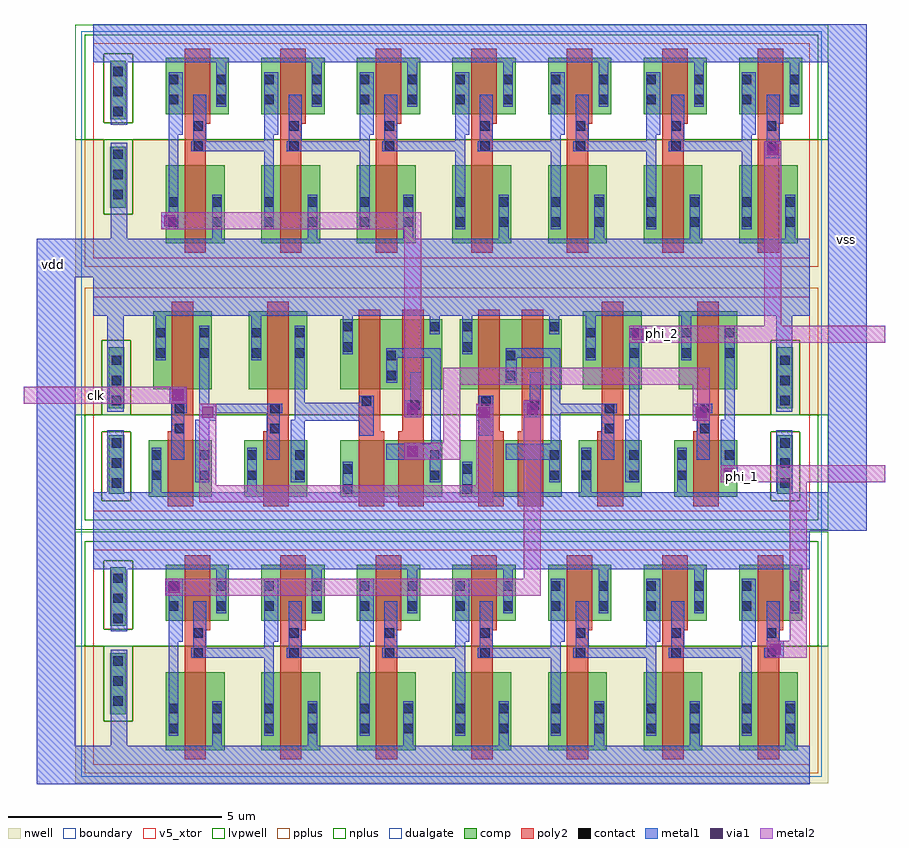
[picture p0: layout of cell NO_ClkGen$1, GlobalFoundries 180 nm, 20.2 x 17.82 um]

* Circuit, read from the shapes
.subckt NO_ClkGen$1 clk phi_1 phi_2 vdd vss
XM1 gf180mcu_fd_sc_mcu9t5v0__nand2_1$3_2/A2 clk vss vss nfet_05v0 w=1.32u l=0.6u
XM2 vss gf180mcu_fd_sc_mcu9t5v0__inv_1$5_8/I gf180mcu_fd_sc_mcu9t5v0__nand2_1$3_2/A1 vss nfet_05v0 w=1.32u l=0.6u
XM3 vss gf180mcu_fd_sc_mcu9t5v0__inv_1$5_16/I gf180mcu_fd_sc_mcu9t5v0__nand2_1$3_1/A1 vss nfet_05v0 w=1.32u l=0.6u
XM4 gf180mcu_fd_sc_mcu9t5v0__nand2_1$3_1/A2 gf180mcu_fd_sc_mcu9t5v0__nand2_1$3_2/A2 vss vss nfet_05v0 w=1.32u l=0.6u
XM5 vss gf180mcu_fd_sc_mcu9t5v0__inv_1$5_9/I gf180mcu_fd_sc_mcu9t5v0__inv_1$5_8/I vss nfet_05v0 w=1.32u l=0.6u
XM6 vss gf180mcu_fd_sc_mcu9t5v0__inv_1$5_17/I gf180mcu_fd_sc_mcu9t5v0__inv_1$5_16/I vss nfet_05v0 w=1.32u l=0.6u
XM7 n1 gf180mcu_fd_sc_mcu9t5v0__nand2_1$3_1/A2 vss vss nfet_05v0 w=1.32u l=0.6u
XM8 vss gf180mcu_fd_sc_mcu9t5v0__inv_1$5_7/I gf180mcu_fd_sc_mcu9t5v0__inv_1$5_9/I vss nfet_05v0 w=1.32u l=0.6u
XM9 vss gf180mcu_fd_sc_mcu9t5v0__inv_1$5_15/I gf180mcu_fd_sc_mcu9t5v0__inv_1$5_17/I vss nfet_05v0 w=1.32u l=0.6u
XM10 gf180mcu_fd_sc_mcu9t5v0__inv_1$5_10/I gf180mcu_fd_sc_mcu9t5v0__nand2_1$3_1/A1 n1 vss nfet_05v0 w=1.32u l=0.6u
XM11 vss gf180mcu_fd_sc_mcu9t5v0__inv_1$5_6/I gf180mcu_fd_sc_mcu9t5v0__inv_1$5_7/I vss nfet_05v0 w=1.32u l=0.6u
XM12 vss gf180mcu_fd_sc_mcu9t5v0__inv_1$5_14/I gf180mcu_fd_sc_mcu9t5v0__inv_1$5_15/I vss nfet_05v0 w=1.32u l=0.6u
XM13 n2 gf180mcu_fd_sc_mcu9t5v0__nand2_1$3_2/A2 vss vss nfet_05v0 w=1.32u l=0.6u
XM14 gf180mcu_fd_sc_mcu9t5v0__inv_1$5_18/I gf180mcu_fd_sc_mcu9t5v0__nand2_1$3_2/A1 n2 vss nfet_05v0 w=1.32u l=0.6u
XM15 vss gf180mcu_fd_sc_mcu9t5v0__inv_1$5_12/I gf180mcu_fd_sc_mcu9t5v0__inv_1$5_6/I vss nfet_05v0 w=1.32u l=0.6u
XM16 vss gf180mcu_fd_sc_mcu9t5v0__inv_1$5_20/I gf180mcu_fd_sc_mcu9t5v0__inv_1$5_14/I vss nfet_05v0 w=1.32u l=0.6u
XM17 phi_2 gf180mcu_fd_sc_mcu9t5v0__inv_1$5_18/I vss vss nfet_05v0 w=1.32u l=0.6u
XM18 vss gf180mcu_fd_sc_mcu9t5v0__inv_1$5_13/I gf180mcu_fd_sc_mcu9t5v0__inv_1$5_12/I vss nfet_05v0 w=1.32u l=0.6u
XM19 vss gf180mcu_fd_sc_mcu9t5v0__inv_1$5_21/I gf180mcu_fd_sc_mcu9t5v0__inv_1$5_20/I vss nfet_05v0 w=1.32u l=0.6u
XM20 phi_1 gf180mcu_fd_sc_mcu9t5v0__inv_1$5_10/I vss vss nfet_05v0 w=1.32u l=0.6u
XM21 vss phi_1 gf180mcu_fd_sc_mcu9t5v0__inv_1$5_13/I vss nfet_05v0 w=1.32u l=0.6u
XM22 vss phi_2 gf180mcu_fd_sc_mcu9t5v0__inv_1$5_21/I vss nfet_05v0 w=1.32u l=0.6u
XM23 gf180mcu_fd_sc_mcu9t5v0__nand2_1$3_2/A2 clk vdd vdd pfet_05v0 w=1.83u l=0.5u
XM24 vdd gf180mcu_fd_sc_mcu9t5v0__inv_1$5_8/I gf180mcu_fd_sc_mcu9t5v0__nand2_1$3_2/A1 vdd pfet_05v0 w=1.83u l=0.5u
XM25 vdd gf180mcu_fd_sc_mcu9t5v0__inv_1$5_16/I gf180mcu_fd_sc_mcu9t5v0__nand2_1$3_1/A1 vdd pfet_05v0 w=1.83u l=0.5u
XM26 gf180mcu_fd_sc_mcu9t5v0__nand2_1$3_1/A2 gf180mcu_fd_sc_mcu9t5v0__nand2_1$3_2/A2 vdd vdd pfet_05v0 w=1.83u l=0.5u
XM27 vdd gf180mcu_fd_sc_mcu9t5v0__inv_1$5_9/I gf180mcu_fd_sc_mcu9t5v0__inv_1$5_8/I vdd pfet_05v0 w=1.83u l=0.5u
XM28 vdd gf180mcu_fd_sc_mcu9t5v0__inv_1$5_17/I gf180mcu_fd_sc_mcu9t5v0__inv_1$5_16/I vdd pfet_05v0 w=1.83u l=0.5u
XM29 gf180mcu_fd_sc_mcu9t5v0__inv_1$5_10/I gf180mcu_fd_sc_mcu9t5v0__nand2_1$3_1/A2 vdd vdd pfet_05v0 w=1.645u l=0.5u
XM30 vdd gf180mcu_fd_sc_mcu9t5v0__inv_1$5_7/I gf180mcu_fd_sc_mcu9t5v0__inv_1$5_9/I vdd pfet_05v0 w=1.83u l=0.5u
XM31 vdd gf180mcu_fd_sc_mcu9t5v0__inv_1$5_15/I gf180mcu_fd_sc_mcu9t5v0__inv_1$5_17/I vdd pfet_05v0 w=1.83u l=0.5u
XM32 vdd gf180mcu_fd_sc_mcu9t5v0__nand2_1$3_1/A1 gf180mcu_fd_sc_mcu9t5v0__inv_1$5_10/I vdd pfet_05v0 w=1.645u l=0.5u
XM33 vdd gf180mcu_fd_sc_mcu9t5v0__inv_1$5_6/I gf180mcu_fd_sc_mcu9t5v0__inv_1$5_7/I vdd pfet_05v0 w=1.83u l=0.5u
XM34 vdd gf180mcu_fd_sc_mcu9t5v0__inv_1$5_14/I gf180mcu_fd_sc_mcu9t5v0__inv_1$5_15/I vdd pfet_05v0 w=1.83u l=0.5u
XM35 gf180mcu_fd_sc_mcu9t5v0__inv_1$5_18/I gf180mcu_fd_sc_mcu9t5v0__nand2_1$3_2/A2 vdd vdd pfet_05v0 w=1.645u l=0.5u
XM36 vdd gf180mcu_fd_sc_mcu9t5v0__nand2_1$3_2/A1 gf180mcu_fd_sc_mcu9t5v0__inv_1$5_18/I vdd pfet_05v0 w=1.645u l=0.5u
XM37 vdd gf180mcu_fd_sc_mcu9t5v0__inv_1$5_12/I gf180mcu_fd_sc_mcu9t5v0__inv_1$5_6/I vdd pfet_05v0 w=1.83u l=0.5u
XM38 vdd gf180mcu_fd_sc_mcu9t5v0__inv_1$5_20/I gf180mcu_fd_sc_mcu9t5v0__inv_1$5_14/I vdd pfet_05v0 w=1.83u l=0.5u
XM39 phi_2 gf180mcu_fd_sc_mcu9t5v0__inv_1$5_18/I vdd vdd pfet_05v0 w=1.83u l=0.5u
XM40 vdd gf180mcu_fd_sc_mcu9t5v0__inv_1$5_13/I gf180mcu_fd_sc_mcu9t5v0__inv_1$5_12/I vdd pfet_05v0 w=1.83u l=0.5u
XM41 vdd gf180mcu_fd_sc_mcu9t5v0__inv_1$5_21/I gf180mcu_fd_sc_mcu9t5v0__inv_1$5_20/I vdd pfet_05v0 w=1.83u l=0.5u
XM42 phi_1 gf180mcu_fd_sc_mcu9t5v0__inv_1$5_10/I vdd vdd pfet_05v0 w=1.83u l=0.5u
XM43 vdd phi_1 gf180mcu_fd_sc_mcu9t5v0__inv_1$5_13/I vdd pfet_05v0 w=1.83u l=0.5u
XM44 vdd phi_2 gf180mcu_fd_sc_mcu9t5v0__inv_1$5_21/I vdd pfet_05v0 w=1.83u l=0.5u
.ends

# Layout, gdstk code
from math import pi, radians
import gdstk
lib = gdstk.Library(unit=1e-6, precision=5e-09)
def R(c, l, rs):  # rectangles x0, y0, x1, y1
    for r in rs: c.add(gdstk.rectangle(r[:2], r[2:], *l))
def A(c, l, x, y, w, h, nx, ny, dx, dy):  # array of equal rectangles
    R(c, l, [(x+i*dx, y+j*dy, x+i*dx+w, y+j*dy+h) for i in range(nx) for j in range(ny)])
def P(c, l, *ps):  # polygons
    for p in ps: c.add(gdstk.Polygon(p, *l))
boundary = (0, 0)
nwell = (21, 0)
comp = (22, 0)
poly2 = (30, 0)
pplus = (31, 0)
nplus = (32, 0)
contact = (33, 0)
metal1 = (34, 0)
via1 = (35, 0)
metal2 = (36, 0)
dualgate = (55, 0)
v5_xtor = (112, 1)
lvpwell = (204, 0)

gf180mcu_fd_sc_mcu9t5v0_ = lib.new_cell('gf180mcu_fd_sc_mcu9t5v0__inv_1$5')
R(gf180mcu_fd_sc_mcu9t5v0_, boundary, [(0,0,2.24,5.04)])
R(gf180mcu_fd_sc_mcu9t5v0_, nwell, [(-0.43,2.265,2.67,5.47)])
R(gf180mcu_fd_sc_mcu9t5v0_, comp, [(0.18,0.345,1.66,1.665), (0.28,2.865,1.66,4.695)])
P(gf180mcu_fd_sc_mcu9t5v0_, poly2, [(0.62,0.125),(0.62,1.885),(0.72,1.885),(0.72,4.915),(1.22,4.915),(1.22,0.125)])
R(gf180mcu_fd_sc_mcu9t5v0_, pplus, [(-0.2,2.265,2.44,5.24)])
R(gf180mcu_fd_sc_mcu9t5v0_, nplus, [(-0.2,-0.2,2.44,2.265)])
R(gf180mcu_fd_sc_mcu9t5v0_, contact, [(0.25,0.74,0.47,0.96), (1.37,0.74,1.59,0.96), (0.25,1.21,0.47,1.43), (1.37,1.21,1.59,1.43), (0.79,1.835,1.01,2.055), (0.79,2.305,1.01,2.525), (0.35,3.61,0.57,3.83), (1.37,3.61,1.59,3.83), (0.35,4.08,0.57,4.3), (1.37,4.08,1.59,4.3)])
P(gf180mcu_fd_sc_mcu9t5v0_, metal1, [(0.71,1.21),(0.71,2.53),(1.07,2.53),(1.07,2.3),(1.015,2.3),(1.015,1.21)],
  [(1.27,0.68),(1.27,2.15),(1.365,2.15),(1.365,4.36),(1.595,4.36),(1.595,0.68)],
  [(0,-0.45),(0,0.45),(0.245,0.45),(0.245,1.49),(0.475,1.49),(0.475,0.45),(2.24,0.45),(2.24,-0.45)],
  [(0.345,3.55),(0.345,4.59),(0,4.59),(0,5.49),(2.24,5.49),(2.24,4.59),(0.575,4.59),(0.575,3.55)])
R(gf180mcu_fd_sc_mcu9t5v0_, dualgate, [(-0.28,-0.28,2.52,5.32)])
R(gf180mcu_fd_sc_mcu9t5v0_, v5_xtor, [(0,0,2.24,5.04)])
R(gf180mcu_fd_sc_mcu9t5v0_, lvpwell, [(-0.43,-0.43,2.67,2.265)])
gf180mcu_fd_sc_mcu9t5v0_.add(gdstk.Label('I', (0.84,1.96), layer=34, texttype=10))
gf180mcu_fd_sc_mcu9t5v0_.add(gdstk.Label('VDD', (1.12,5.49), layer=34, texttype=10))
gf180mcu_fd_sc_mcu9t5v0_.add(gdstk.Label('VSS', (1.12,-0.45), layer=34, texttype=10))
gf180mcu_fd_sc_mcu9t5v0_.add(gdstk.Label('ZN', (1.4,1.96), layer=34, texttype=10))
gf180mcu_fd_sc_mcu9t5v0_.add(gdstk.Label('& Vendor GLOBALFOUNDRIES', (0,2), layer=63, texttype=63))
gf180mcu_fd_sc_mcu9t5v0_.add(gdstk.Label('& Product GF018hv5v_green_sc9', (0,1.5), layer=63, texttype=63))
gf180mcu_fd_sc_mcu9t5v0_.add(gdstk.Label('& Version 2015q2v2', (0,1), layer=63, texttype=63))
gf180mcu_fd_sc_mcu9t5v0_.add(gdstk.Label('& Metric 1.00', (0,0.5), layer=63, texttype=63))
gf180mcu_fd_sc_mcu9t5v0_.add(gdstk.Label('VNW', (0.345,3.92), layer=21, texttype=10))
gf180mcu_fd_sc_mcu9t5v0_.add(gdstk.Label('VPW', (0.34,-0.085), layer=204, texttype=10))

c_gf180mcu_fd_sc_mcu9t5v0_ = lib.new_cell('gf180mcu_fd_sc_mcu9t5v0__nand2_1$3')
R(c_gf180mcu_fd_sc_mcu9t5v0_, boundary, [(0,0,2.8,5.04)])
R(c_gf180mcu_fd_sc_mcu9t5v0_, nwell, [(-0.43,2.265,3.23,5.47)])
R(c_gf180mcu_fd_sc_mcu9t5v0_, comp, [(0.185,0.345,2.585,1.665), (0.185,2.865,2.585,4.51)])
P(c_gf180mcu_fd_sc_mcu9t5v0_, poly2, [(0.625,0.125),(0.625,4.73),(1.125,4.73),(1.125,1.885),(1.225,1.885),(1.225,0.125)],
  [(1.545,0.125),(1.545,1.885),(1.645,1.885),(1.645,4.73),(2.145,4.73),(2.145,0.125)])
R(c_gf180mcu_fd_sc_mcu9t5v0_, pplus, [(-0.2,2.265,3,5.24)])
R(c_gf180mcu_fd_sc_mcu9t5v0_, nplus, [(-0.2,-0.2,3,2.265)])
R(c_gf180mcu_fd_sc_mcu9t5v0_, contact, [(0.255,0.415,0.475,0.635), (2.295,0.74,2.515,0.96), (0.255,0.885,0.475,1.105), (2.295,1.21,2.515,1.43), (1.835,2.39,2.055,2.61), (0.695,2.475,0.915,2.695), (1.275,3.08,1.495,3.3), (1.275,3.55,1.495,3.77), (0.255,3.75,0.475,3.97), (0.255,4.22,0.475,4.44), (2.295,4.22,2.515,4.44)])
R(c_gf180mcu_fd_sc_mcu9t5v0_, metal1, [(0.635,1.77,0.975,2.71), (1.83,2.33,2.09,3.27)])
P(c_gf180mcu_fd_sc_mcu9t5v0_, metal1, [(2.29,0.68),(2.29,1.21),(1.27,1.21),(1.27,1.59),(2.32,1.59),(2.32,3.6),(1.53,3.6),(1.53,3.02),(1.27,3.02),(1.27,3.83),(2.55,3.83),(2.55,0.68)],
  [(0,-0.45),(0,0.45),(0.25,0.45),(0.25,1.165),(0.48,1.165),(0.48,0.45),(2.8,0.45),(2.8,-0.45)],
  [(0.25,3.69),(0.25,4.59),(0,4.59),(0,5.49),(2.8,5.49),(2.8,4.59),(2.52,4.59),(2.52,4.16),(2.29,4.16),(2.29,4.59),(0.48,4.59),(0.48,3.69)])
R(c_gf180mcu_fd_sc_mcu9t5v0_, dualgate, [(-0.28,-0.28,3.08,5.32)])
R(c_gf180mcu_fd_sc_mcu9t5v0_, v5_xtor, [(0,0,2.8,5.04)])
R(c_gf180mcu_fd_sc_mcu9t5v0_, lvpwell, [(-0.43,-0.43,3.23,2.265)])
c_gf180mcu_fd_sc_mcu9t5v0_.add(gdstk.Label('A1', (1.96,2.52), layer=34, texttype=10))
c_gf180mcu_fd_sc_mcu9t5v0_.add(gdstk.Label('A2', (0.84,1.96), layer=34, texttype=10))
c_gf180mcu_fd_sc_mcu9t5v0_.add(gdstk.Label('VDD', (1.4,5.49), layer=34, texttype=10))
c_gf180mcu_fd_sc_mcu9t5v0_.add(gdstk.Label('VSS', (1.4,-0.45), layer=34, texttype=10))
c_gf180mcu_fd_sc_mcu9t5v0_.add(gdstk.Label('ZN', (1.96,1.4), layer=34, texttype=10))
c_gf180mcu_fd_sc_mcu9t5v0_.add(gdstk.Label('& Vendor GLOBALFOUNDRIES', (0,2), layer=63, texttype=63))
c_gf180mcu_fd_sc_mcu9t5v0_.add(gdstk.Label('& Product GF018hv5v_green_sc9', (0,1.5), layer=63, texttype=63))
c_gf180mcu_fd_sc_mcu9t5v0_.add(gdstk.Label('& Version 2015q2v2', (0,1), layer=63, texttype=63))
c_gf180mcu_fd_sc_mcu9t5v0_.add(gdstk.Label('& Metric 1.00', (0,0.5), layer=63, texttype=63))
c_gf180mcu_fd_sc_mcu9t5v0_.add(gdstk.Label('VNW', (0.345,3.92), layer=21, texttype=10))
c_gf180mcu_fd_sc_mcu9t5v0_.add(gdstk.Label('VPW', (0.34,-0.085), layer=204, texttype=10))

c_gf180mcu_fd_sc_mcu9t5v0__ = lib.new_cell('gf180mcu_fd_sc_mcu9t5v0__filltie$2')
R(c_gf180mcu_fd_sc_mcu9t5v0__, boundary, [(0,0,1.12,5.04)])
R(c_gf180mcu_fd_sc_mcu9t5v0__, nwell, [(-0.43,2.265,1.55,5.47)])
R(c_gf180mcu_fd_sc_mcu9t5v0__, comp, [(0.36,0.41,0.72,1.785), (0.36,2.425,0.72,3.855)])
R(c_gf180mcu_fd_sc_mcu9t5v0__, pplus, [(0.2,0.25,0.88,1.865)])
P(c_gf180mcu_fd_sc_mcu9t5v0__, pplus, [(-0.2,2.265),(-0.2,5.24),(1.32,5.24),(1.32,2.265),(0.88,2.265),(0.88,4.015),(0.2,4.015),(0.2,2.265)])
P(c_gf180mcu_fd_sc_mcu9t5v0__, nplus, [(-0.2,-0.2),(-0.2,2.265),(0.2,2.265),(0.2,4.015),(0.88,4.015),(0.88,1.865),(0.2,1.865),(0.2,0.25),(0.88,0.25),(0.88,4.015),(0.88,2.265),(1.32,2.265),(1.32,-0.2)])
A(c_gf180mcu_fd_sc_mcu9t5v0__, contact, 0.43, 0.555, 0.22, 0.22, 1, 3, 0, 0.47)
A(c_gf180mcu_fd_sc_mcu9t5v0__, contact, 0.43, 2.495, 0.22, 0.22, 1, 3, 0, 0.47)
P(c_gf180mcu_fd_sc_mcu9t5v0__, metal1, [(0,-0.45),(0,0.45),(0.33,0.45),(0.33,1.91),(0.71,1.91),(0.71,0.45),(1.12,0.45),(1.12,-0.45)],
  [(0.33,2.34),(0.33,4.59),(0,4.59),(0,5.49),(1.12,5.49),(1.12,4.59),(0.71,4.59),(0.71,2.34)])
R(c_gf180mcu_fd_sc_mcu9t5v0__, dualgate, [(-0.28,-0.28,1.4,5.32)])
R(c_gf180mcu_fd_sc_mcu9t5v0__, v5_xtor, [(0,0,1.12,5.04)])
R(c_gf180mcu_fd_sc_mcu9t5v0__, lvpwell, [(-0.43,-0.43,1.55,2.265)])
c_gf180mcu_fd_sc_mcu9t5v0__.add(gdstk.Label('VSS', (0.56,-0.45), layer=34, texttype=10))
c_gf180mcu_fd_sc_mcu9t5v0__.add(gdstk.Label('VDD', (0.56,5.49), layer=34, texttype=10))
c_gf180mcu_fd_sc_mcu9t5v0__.add(gdstk.Label('& Vendor GLOBALFOUNDRIES', (0,2), layer=63, texttype=63))
c_gf180mcu_fd_sc_mcu9t5v0__.add(gdstk.Label('& Product GF018hv5v_green_sc9', (0,1.5), layer=63, texttype=63))
c_gf180mcu_fd_sc_mcu9t5v0__.add(gdstk.Label('& Version 2015q2v2', (0,1), layer=63, texttype=63))
c_gf180mcu_fd_sc_mcu9t5v0__.add(gdstk.Label('& Metric 1.00', (0,0.5), layer=63, texttype=63))

via_dev_56 = lib.new_cell('via_dev$56')
R(via_dev_56, metal1, [(0,0,0.4,0.4)])
R(via_dev_56, via1, [(0.07,0.07,0.33,0.33)])
R(via_dev_56, metal2, [(0,0,0.4,0.4)])

no_clkgen_1 = lib.new_cell('NO_ClkGen$1')
R(no_clkgen_1, nwell, [(-10.83,3.335,6.83,3.375)])
A(no_clkgen_1, metal1, -8.11, -5.565, 1.945, 0.23, 6, 2, 2.24, 11.88)
R(no_clkgen_1, metal1, [(-5.675,-0.005,-4.165,0.415), (-7.915,0.165,-5.97,0.395), (0.32,0.165,1.87,0.395)])
P(no_clkgen_1, metal1, [(6.4,-2.585),(6.4,-1.685),(6.83,-1.685),(6.83,8.395),(6.4,8.395),(6.4,9.295),(7.73,9.295),(7.73,-2.585)],
  [(-11.73,-8.525),(-11.73,4.255),(-10.4,4.255),(-10.4,3.355),(-10.83,3.355),(-10.83,-7.625),(-10.4,-7.625),(-10.4,-8.525)])
R(no_clkgen_1, metal2, [(-12.03,0.395,-8.21,0.795)])
P(no_clkgen_1, metal2, [(-7.915,-1.92),(-7.915,-0.005),(-7.515,-0.005),(-7.515,-1.52),(-1.425,-1.52),(-1.425,-0.005),(-1.025,-0.005),(-1.025,-1.92)],
  [(2.565,1.825),(2.565,2.225),(5.33,2.225),(5.33,6.32),(5.73,6.32),(5.73,2.225),(8.165,2.225),(8.165,1.825)],
  [(-8.31,-4.115),(-8.31,-3.715),(-0.31,-3.715),(-0.31,0.475),(0.09,0.475),(0.09,-4.115)],
  [(-3.11,0.23),(-3.11,4.485),(-8.405,4.485),(-8.405,4.885),(-2.71,4.885),(-2.71,0.23)],
  [(-2.71,-0.925),(-2.71,-0.525),(-2.2,-0.525),(-2.2,1.235),(4.055,1.235),(4.055,0.105),(3.655,0.105),(3.655,0.835),(-1.8,0.835),(-1.8,-0.925)],
  [(5.385,-5.565),(5.385,-5.165),(5.93,-5.165),(5.93,-1.455),(4.71,-1.455),(4.71,-1.055),(8.165,-1.055),(8.165,-1.455),(6.33,-1.455),(6.33,-5.565)])
R(no_clkgen_1, dualgate, [(-10.68,-2.755,6.68,-2.415), (-10.68,3.185,6.68,3.525)])
no_clkgen_1.add(gdstk.Reference(gf180mcu_fd_sc_mcu9t5v0_, (-9.28,-2.135)))
no_clkgen_1.add(gdstk.Reference(c_gf180mcu_fd_sc_mcu9t5v0_, (-4.8,-2.135)))
no_clkgen_1.add(gdstk.Reference(c_gf180mcu_fd_sc_mcu9t5v0_, (-2,-2.135)))
no_clkgen_1.add(gdstk.Reference(gf180mcu_fd_sc_mcu9t5v0_, (-7.04,-2.135)))
no_clkgen_1.add(gdstk.Reference(c_gf180mcu_fd_sc_mcu9t5v0__, (-10.4,-2.135)))
no_clkgen_1.add(gdstk.Reference(via_dev_56, (-8.61,0.395)))
no_clkgen_1.add(gdstk.Reference(gf180mcu_fd_sc_mcu9t5v0_, (-0.32,-3.035), rotation=pi))
no_clkgen_1.add(gdstk.Reference(gf180mcu_fd_sc_mcu9t5v0_, (-2.56,-3.035), rotation=pi))
no_clkgen_1.add(gdstk.Reference(gf180mcu_fd_sc_mcu9t5v0_, (-7.04,-3.035), rotation=pi))
no_clkgen_1.add(gdstk.Reference(gf180mcu_fd_sc_mcu9t5v0_, (-4.8,-3.035), rotation=pi))
no_clkgen_1.add(gdstk.Reference(gf180mcu_fd_sc_mcu9t5v0_, (3.04,-2.135)))
no_clkgen_1.add(gdstk.Reference(gf180mcu_fd_sc_mcu9t5v0_, (6.4,-3.035), rotation=pi))
no_clkgen_1.add(gdstk.Reference(gf180mcu_fd_sc_mcu9t5v0_, (1.92,-3.035), rotation=pi))
no_clkgen_1.add(gdstk.Reference(gf180mcu_fd_sc_mcu9t5v0_, (4.16,-3.035), rotation=pi))
no_clkgen_1.add(gdstk.Reference(gf180mcu_fd_sc_mcu9t5v0_, (-0.32,8.845), rotation=pi))
no_clkgen_1.add(gdstk.Reference(gf180mcu_fd_sc_mcu9t5v0_, (-2.56,8.845), rotation=pi))
no_clkgen_1.add(gdstk.Reference(gf180mcu_fd_sc_mcu9t5v0_, (-7.04,8.845), rotation=pi))
no_clkgen_1.add(gdstk.Reference(gf180mcu_fd_sc_mcu9t5v0_, (-4.8,8.845), rotation=pi))
no_clkgen_1.add(gdstk.Reference(gf180mcu_fd_sc_mcu9t5v0_, (0.8,-2.135)))
no_clkgen_1.add(gdstk.Reference(gf180mcu_fd_sc_mcu9t5v0_, (6.4,8.845), rotation=pi))
no_clkgen_1.add(gdstk.Reference(gf180mcu_fd_sc_mcu9t5v0_, (1.92,8.845), rotation=pi))
no_clkgen_1.add(gdstk.Reference(gf180mcu_fd_sc_mcu9t5v0_, (4.16,8.845), rotation=pi))
no_clkgen_1.add(gdstk.Reference(c_gf180mcu_fd_sc_mcu9t5v0__, (5.28,-2.135)))
no_clkgen_1.add(gdstk.Reference(c_gf180mcu_fd_sc_mcu9t5v0__, (-9.28,8.845), rotation=pi))
no_clkgen_1.add(gdstk.Reference(via_dev_56, (4.31,-1.455)))
no_clkgen_1.add(gdstk.Reference(c_gf180mcu_fd_sc_mcu9t5v0__, (-9.28,-3.035), rotation=pi))
no_clkgen_1.add(gdstk.Reference(via_dev_56, (2.165,1.825)))
no_clkgen_1.add(gdstk.Reference(via_dev_56, (5.33,6.145)))
no_clkgen_1.add(gdstk.Reference(via_dev_56, (-8.805,4.485)))
no_clkgen_1.add(gdstk.Reference(via_dev_56, (-8.71,-4.115)))
no_clkgen_1.add(gdstk.Reference(via_dev_56, (5.385,-5.565)))
no_clkgen_1.add(gdstk.Reference(via_dev_56, (-7.915,-0.005)))
no_clkgen_1.add(gdstk.Reference(via_dev_56, (-1.425,-0.005)))
no_clkgen_1.add(gdstk.Reference(via_dev_56, (-0.31,0.075)))
no_clkgen_1.add(gdstk.Reference(via_dev_56, (-3.11,0.075)))
no_clkgen_1.add(gdstk.Reference(via_dev_56, (3.655,-0.005)))
no_clkgen_1.add(gdstk.Reference(via_dev_56, (-3.11,-0.925)))
no_clkgen_1.add(gdstk.Label('vdd', (-11.335,3.655), layer=34, texttype=10))
no_clkgen_1.add(gdstk.Label('vss', (7.25,4.235), layer=34, texttype=10))
no_clkgen_1.add(gdstk.Label('clk', (-10.325,0.595), layer=36, texttype=10))
no_clkgen_1.add(gdstk.Label('phi_2', (2.955,2.04), layer=36, texttype=10))
no_clkgen_1.add(gdstk.Label('phi_1', (4.815,-1.305), layer=36, texttype=10))

lib.write_gds('NO_ClkGen_1.gds')
